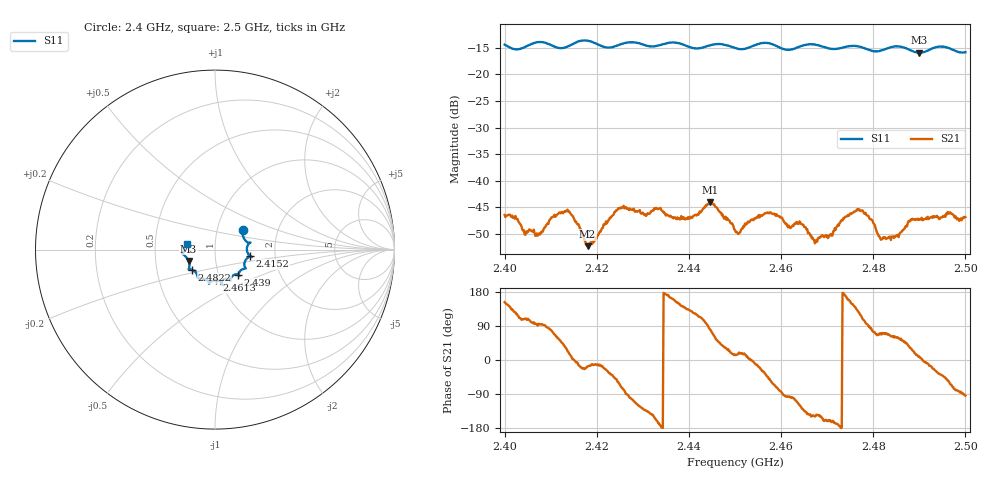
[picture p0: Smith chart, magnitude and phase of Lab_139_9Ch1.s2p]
# Hz S RI R 50
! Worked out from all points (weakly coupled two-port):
!   601 points, 2.4 GHz to 2.5 GHz, reference 50 ohm
!   highest |S21| = -44.11 dB at 2.4447 GHz (marker M1); lowest = -52.4 dB at 2.418 GHz (marker M2)
!   lowest |S11| = -15.9 dB at 2.49 GHz (marker M3), VSWR 1.38, Z = 36.9 - j4.84 ohm
!   |S11| at or under -10 dB: start of sweep to end of sweep
!   S12 and S22 are empty: the file has one direction only
!   S11 on the Smith chart (normalised r, x): 2.4 GHz: 1.33, +0.31; 2.4152 GHz: 1.48, -0.11; 2.439 GHz: 1.24, -0.36; 2.4613 GHz: 0.96, -0.34; 2.4822 GHz: 0.76, -0.17; 2.5 GHz: 0.72, +0.05
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2.4e9  0.1557 0.1109  -0.00421 0.00218  0 0  0 0
2.407167e9  0.198 0.0383  -3.77e-05 0.00301  0 0  0 0
2.411833e9  0.1773 0.00838  0.0029 0.00408  0 0  0 0
2.415167e9  0.1944 -0.0358  0.00424 -9.15e-05  0 0  0 0
2.416667e9  0.2042 -0.0418  0.00313 -0.00114  0 0  0 0
2.418e9  0.2043 -0.04  0.0023 -0.000713  0 0  0 0
2.424667e9  0.1646 -0.0925  0.00289 -0.00467  0 0  0 0
2.433333e9  0.1331 -0.132  -0.00524 -0.00124  0 0  0 0
2.439e9  0.1285 -0.1393  -0.00326 0.00288  0 0  0 0
2.444667e9  0.0847 -0.1688  0.00109 0.00613  0 0  0 0
2.45e9  0.0687 -0.1639  0.00332 0.000834  0 0  0 0
2.457167e9  0.0397 -0.1938  0.00348 -0.00348  0 0  0 0
2.461333e9  0.00758 -0.1706  -0.000375 -0.00372  0 0  0 0
2.464333e9  -0.0291 -0.1828  -0.00215 -0.00324  0 0  0 0
2.466667e9  -0.0333 -0.19  -0.00242 -0.0015  0 0  0 0
2.470667e9  -0.0495 -0.1678  -0.00289 -0.00113  0 0  0 0
2.477e9  -0.095 -0.1568  -0.00294 0.00444  0 0  0 0
2.482167e9  -0.1282 -0.1123  0.000944 0.00276  0 0  0 0
2.483333e9  -0.1395 -0.1104  0.00109 0.00266  0 0  0 0
2.49e9  -0.1469 -0.0639  0.00421 0.000662  0 0  0 0
2.494667e9  -0.1822 -0.0219  0.00351 -0.0028  0 0  0 0
2.5e9  -0.1587 0.0338  -0.000324 -0.00451  0 0  0 0
